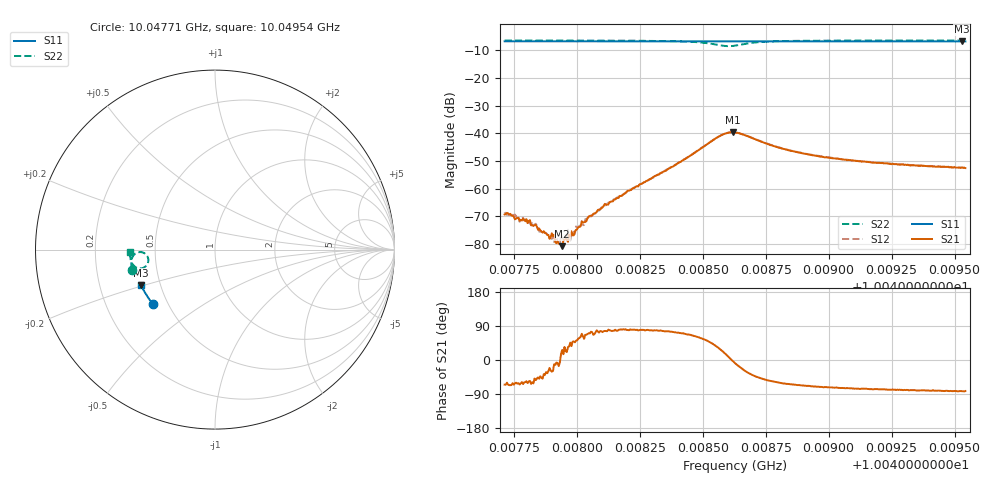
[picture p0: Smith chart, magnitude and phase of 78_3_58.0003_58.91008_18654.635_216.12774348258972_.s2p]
#  HZ  S  RI  R  50.00
! Rohde & Schwarz Vector Network Analyzer
! Rohde-Schwarz,ZNB20-2Port,1311601062101988,3.16
! Created: UTC 3/21/2024, 12:53:47 AM
! freq[Hz]  re:S11  im:S11  re:S21  im:S21  re:S12  im:S12  re:S22  im:S22
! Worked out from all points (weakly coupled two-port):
!   401 points, 10.04771 GHz to 10.04954 GHz, reference 50 ohm
!   highest |S21| = -39.65 dB at 10.04862 GHz (marker M1); lowest = -80.8 dB at 10.04794 GHz (marker M2)
!   lowest |S11| = -6.8 dB at 10.04953 GHz (marker M3), VSWR 2.68, Z = 19.5 - j9.8 ohm
!   |S11| at or under -10 dB: nowhere
!   |S22| runs from -8.5 to -6.4 dB; largest |S21 - S12| = 0.00075
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1.0047714e10  -0.3479 -0.3008  0.000145 -0.00031  0.000153 -0.000345  -0.4626 -0.1112
1.0047805e10  -0.3517 -0.2958  0.000116 -0.000209  0.000169 -0.000202  -0.4639 -0.1044
1.0047837e10  -0.3531 -0.2942  0.000134 -0.000179  0.000152 -0.000176  -0.4642 -0.1019
1.0047888e10  -0.3552 -0.2916  0.000127 -7.21e-05  0.000117 -7.2e-05  -0.465 -0.0978
1.0047906e10  -0.3558 -0.2905  0.000121 -6.7e-05  0.000108 -7.8e-05  -0.4651 -0.0964
1.0047924e10  -0.3566 -0.2895  0.000112 -1.56e-05  0.000122 -1.9e-05  -0.4653 -0.0948
1.0047942e10  -0.3573 -0.2886  8.2e-05 4.09e-05  0.000127 4.81e-06  -0.4655 -0.0933
1.0047956e10  -0.3579 -0.2879  0.000114 4.93e-05  0.000137 4.73e-05  -0.4656 -0.0921
1.0047979e10  -0.3589 -0.2866  0.000137 0.000102  0.00011 9.63e-05  -0.4657 -0.0901
1.0048006e10  -0.3599 -0.2851  0.000112 0.000169  0.000116 0.00017  -0.466 -0.0878
1.004802e10  -0.3606 -0.2844  9.12e-05 0.000239  0.000106 0.000236  -0.466 -0.0865
1.0048043e10  -0.3613 -0.2833  0.000107 0.000274  9.77e-05 0.000277  -0.4663 -0.0844
1.0048134e10  -0.365 -0.2785  0.000124 0.000567  0.000115 0.000572  -0.4667 -0.0757
1.0048327e10  -0.3722 -0.2678  0.000401 0.00177  0.000272 0.00179  -0.4639 -0.0517
1.0048564e10  -0.38 -0.2541  0.0075 0.00455  0.00726 0.00498  -0.3926 -0.0206
1.0048619e10  -0.3816 -0.2517  0.0104 -0.000427  0.0104 0.000228  -0.3722 -0.0691
1.0048628e10  -0.3821 -0.2511  0.0102 -0.00148  0.0104 -0.000763  -0.3752 -0.078
1.0048802e10  -0.3885 -0.2418  0.00278 -0.00475  0.00311 -0.00466  -0.4535 -0.0886
1.0048935e10  -0.3931 -0.2341  0.00142 -0.00377  0.00164 -0.00374  -0.466 -0.0683
1.0049241e10  -0.4027 -0.2162  0.00057 -0.00277  0.000727 -0.00274  -0.473 -0.037
1.0049529e10  -0.4109 -0.199  0.000316 -0.0024  0.000461 -0.00237  -0.4748 -0.014
1.0049543e10  -0.4115 -0.1982  0.000331 -0.00234  0.000444 -0.00238  -0.475 -0.013
